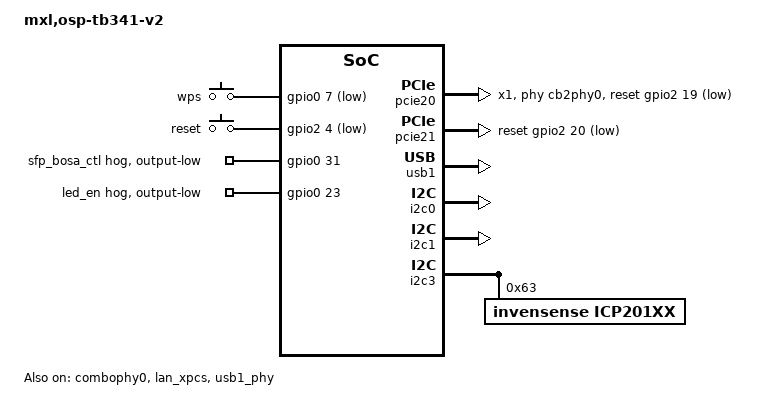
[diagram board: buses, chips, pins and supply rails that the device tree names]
// SPDX-License-Identifier: GPL-2.0
/*
 * Copyright (C) 2023 MaxLinear, Inc.
 */

/dts-v1/;
#include <dt-bindings/input/input.h>
#include "octopus_641.dtsi"
#include "osp_tb341_v2.dtsi"

/ {
	model = "mxl,osp-tb341-v2";

	chosen {
		/* ramfs */
		bootargs = "earlycon console=ttyLTQ0,115200n8r root=/dev/ram init=/init maxcpus=2 initcall_debug=0 clk_ignore_unused loglevel=8";
		stdout-path = "serial0";
	};
};


/* combo PHY setting */
/* combo phy 0 */
&combophy0 { /* PCIe10/11, HSIOL_XPCS0/1, SATA10/11 */ 
	status = "okay";
};

/* Enable P34x */
&lan_xpcs {
	status = "okay";
};

/* PCIe */
&pcie10 {
	status = "disabled";
};

&pcie11 {
	status = "disabled";
};

&pcie20 {
	status = "okay";
	reset-assert-ms = <200>;
	reset-gpios = <&gpio2 19 GPIO_ACTIVE_LOW>; /* GPIO 83 */
	num-lanes = <1>;
	phys = <&cb2phy0 PHY_TYPE_PCIE_SL>;
};

&pcie21 {
	status = "okay";
	reset-assert-ms = <200>;
	reset-gpios = <&gpio2 20 GPIO_ACTIVE_LOW>; /* GPIO 84 */
	intel,cellular_module = <2>; /* 1: RM502Q-AE, 2: RM520N-GL */
	power_on-gpios = <&gpio3 5 GPIO_ACTIVE_HIGH>;
	module_reset-gpios = <&gpio3 4 GPIO_ACTIVE_HIGH>;
};

&usb1_phy {
	status = "okay";
	vbus-supply = <&usb_vbus>;
};

&usb1 {
	status = "okay";
};

&i2c0 { /* used by PMIC */
	status = "okay";
};

&i2c1 { /* used by USB type-C */
	status = "okay";
};

&i2c3 {
	status = "okay";
	icp201xx@63{
		compatible = "invensense,icp201xx";
		reg = <0x63>;
		#address-cells = <1>;
		#size-cells = <0>;
	};
};

&gsw_mac1 {
	usxgmii;
};

&gsw_mac7 {
	usxgmii;
};

&hsiol_xpcs0 {
	xpcs-mode = <5>; /* <0> - SGMII, <1> - 1000BaseX, <2> - 2500BaseX, <3> - 5GBaseR, <4> - 10GBaseR, <5> - USXGMII, <6> - 10GKR, <7> - QUSXGMII */
};

&hsiol_xpcs1 {
	xpcs-mode = <5>; /* <0> - SGMII, <1> - 1000BaseX, <2> - 2500BaseX, <3> - 5GBaseR, <4> - 10GBaseR, <5> - USXGMII, <6> - 10GKR, <7> - QUSXGMII */
};
/ {
    gpio-keys {
        compatible = "gpio-keys";
        #address-cells = <1>;
        #size-cells = <0>;

        wps {
            label = "wps";
            gpios = <&gpio0 7 GPIO_ACTIVE_LOW>;
            linux,code = <KEY_WPS_BUTTON>;
        };

        reset {
            label = "reset";
            gpios = <&gpio2 4 GPIO_ACTIVE_LOW>;
            linux,code = <KEY_RESTART>;
        };
    };
};

&gpio0 {
	sfp_bosa_ctl {
		gpio-hog;
		gpios = <31 GPIO_ACTIVE_HIGH>;
		output-low;
		line-name = "sfp_bosa_ctl";
	};
	led_en {
		gpio-hog;
		gpios = <23 GPIO_ACTIVE_HIGH>;
		output-low;
		line-name = "led_en";
	};
};
